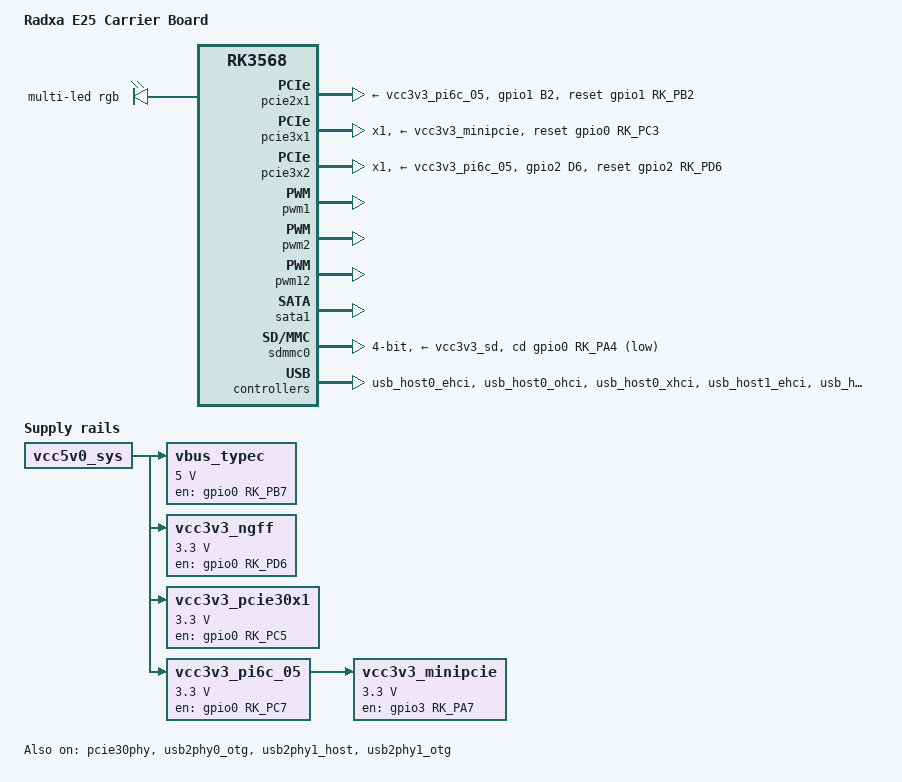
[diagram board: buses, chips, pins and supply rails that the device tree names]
// SPDX-License-Identifier: (GPL-2.0+ OR MIT)

/dts-v1/;
#include "rk3568-radxa-cm3i.dtsi"

/ {
	model = "Radxa E25 Carrier Board";
	compatible = "radxa,e25", "radxa,cm3i", "rockchip,rk3568";

	aliases {
		mmc1 = &sdmmc0;
	};

	pwm-leds {
		compatible = "pwm-leds-multicolor";

		multi-led {
			color = <LED_COLOR_ID_RGB>;
			max-brightness = <255>;

			led-red {
				color = <LED_COLOR_ID_RED>;
				pwms = <&pwm1 0 1000000 0>;
			};

			led-green {
				color = <LED_COLOR_ID_GREEN>;
				pwms = <&pwm2 0 1000000 0>;
			};

			led-blue {
				color = <LED_COLOR_ID_BLUE>;
				pwms = <&pwm12 0 1000000 0>;
			};
		};
	};

	vbus_typec: vbus-typec-regulator {
		compatible = "regulator-fixed";
		enable-active-high;
		gpio = <&gpio0 RK_PB7 GPIO_ACTIVE_HIGH>;
		pinctrl-names = "default";
		pinctrl-0 = <&vbus_typec_en>;
		regulator-name = "vbus_typec";
		regulator-min-microvolt = <5000000>;
		regulator-max-microvolt = <5000000>;
		vin-supply = <&vcc5v0_sys>;
	};

	/* actually fed by vcc5v0_sys, dependent
	 * on pi6c clock generator
	 */
	vcc3v3_minipcie: vcc3v3-minipcie-regulator {
		compatible = "regulator-fixed";
		enable-active-high;
		gpio = <&gpio3 RK_PA7 GPIO_ACTIVE_HIGH>;
		pinctrl-names = "default";
		pinctrl-0 = <&minipcie_enable_h>;
		regulator-name = "vcc3v3_minipcie";
		regulator-min-microvolt = <3300000>;
		regulator-max-microvolt = <3300000>;
		vin-supply = <&vcc3v3_pi6c_05>;
	};

	vcc3v3_ngff: vcc3v3-ngff-regulator {
		compatible = "regulator-fixed";
		enable-active-high;
		gpio = <&gpio0 RK_PD6 GPIO_ACTIVE_HIGH>;
		pinctrl-names = "default";
		pinctrl-0 = <&ngffpcie_enable_h>;
		regulator-name = "vcc3v3_ngff";
		regulator-min-microvolt = <3300000>;
		regulator-max-microvolt = <3300000>;
		vin-supply = <&vcc5v0_sys>;
	};

	vcc3v3_pcie30x1: vcc3v3-pcie30x1-regulator {
		compatible = "regulator-fixed";
		enable-active-high;
		gpio = <&gpio0 RK_PC5 GPIO_ACTIVE_HIGH>;
		pinctrl-names = "default";
		pinctrl-0 = <&pcie30x1_enable_h>;
		regulator-name = "vcc3v3_pcie30x1";
		regulator-min-microvolt = <3300000>;
		regulator-max-microvolt = <3300000>;
		vin-supply = <&vcc5v0_sys>;
	};

	vcc3v3_pi6c_05: vcc3v3-pi6c-05-regulator {
		compatible = "regulator-fixed";
		enable-active-high;
		gpios = <&gpio0 RK_PC7 GPIO_ACTIVE_HIGH>;
		pinctrl-names = "default";
		pinctrl-0 = <&pcie_enable_h>;
		regulator-name = "vcc3v3_pcie";
		regulator-min-microvolt = <3300000>;
		regulator-max-microvolt = <3300000>;
		vin-supply = <&vcc5v0_sys>;
	};
};

&combphy1 {
	phy-supply = <&vcc3v3_pcie30x1>;
};

&display_subsystem {
	status = "disabled";
};

&pcie2x1 {
	pinctrl-names = "default";
	pinctrl-0 = <&pcie20_reset_h>;
	reset-gpios = <&gpio1 RK_PB2 GPIO_ACTIVE_HIGH>;
	vpcie3v3-supply = <&vcc3v3_pi6c_05>;
	status = "okay";
};

&pcie30phy {
	data-lanes = <1 2>;
	status = "okay";
};

&pcie3x1 {
	num-lanes = <1>;
	pinctrl-names = "default";
	pinctrl-0 = <&pcie30x1m0_pins>;
	reset-gpios = <&gpio0 RK_PC3 GPIO_ACTIVE_HIGH>;
	vpcie3v3-supply = <&vcc3v3_minipcie>;
	status = "okay";
};

&pcie3x2 {
	num-lanes = <1>;
	pinctrl-names = "default";
	pinctrl-0 = <&pcie30x2_reset_h>;
	reset-gpios = <&gpio2 RK_PD6 GPIO_ACTIVE_HIGH>;
	vpcie3v3-supply = <&vcc3v3_pi6c_05>;
	status = "okay";
};

&pinctrl {
	pcie {
		pcie20_reset_h: pcie20-reset-h {
			rockchip,pins = <1 RK_PB2 RK_FUNC_GPIO &pcfg_pull_none>;
		};

		pcie30x1_enable_h: pcie30x1-enable-h {
			rockchip,pins = <0 RK_PC5 RK_FUNC_GPIO &pcfg_pull_none>;
		};

		pcie30x2_reset_h: pcie30x2-reset-h {
			rockchip,pins = <2 RK_PD6 RK_FUNC_GPIO &pcfg_pull_none>;
		};

		pcie_enable_h: pcie-enable-h {
			rockchip,pins = <0 RK_PC7 RK_FUNC_GPIO &pcfg_pull_none>;
		};
	};

	usb {
		minipcie_enable_h: minipcie-enable-h {
			rockchip,pins = <3 RK_PA7 RK_FUNC_GPIO &pcfg_pull_none>;
		};

		ngffpcie_enable_h: ngffpcie-enable-h {
			rockchip,pins = <0 RK_PD6 RK_FUNC_GPIO &pcfg_pull_none>;
		};

		vbus_typec_en: vbus_typec_en {
			rockchip,pins = <0 RK_PB7 RK_FUNC_GPIO &pcfg_pull_none>;
		};
	};
};

&pwm1 {
	status = "okay";
};

&pwm2 {
	status = "okay";
};

&pwm12 {
	pinctrl-names = "default";
	pinctrl-0 = <&pwm12m1_pins>;
	status = "okay";
};

&sata1 {
	status = "okay";
};

&sdmmc0 {
	bus-width = <4>;
	cap-sd-highspeed;
	cd-gpios = <&gpio0 RK_PA4 GPIO_ACTIVE_LOW>;
	/* Also used in pcie30x1_clkreqnm0 */
	disable-wp;
	pinctrl-names = "default";
	pinctrl-0 = <&sdmmc0_bus4 &sdmmc0_clk &sdmmc0_cmd>;
	sd-uhs-sdr104;
	vmmc-supply = <&vcc3v3_sd>;
	vqmmc-supply = <&vccio_sd>;
	status = "okay";
};

&usb_host0_ehci {
	status = "okay";
};

&usb_host0_ohci {
	status = "okay";
};

&usb_host0_xhci {
	status = "okay";
};

&usb_host1_ehci {
	status = "okay";
};

&usb_host1_ohci {
	status = "okay";
};

&usb2phy0_otg {
	phy-supply = <&vbus_typec>;
	status = "okay";
};

&usb2phy1_host {
	phy-supply = <&vcc3v3_minipcie>;
	status = "okay";
};

&usb2phy1_otg {
	phy-supply = <&vcc3v3_ngff>;
	status = "okay";
};
